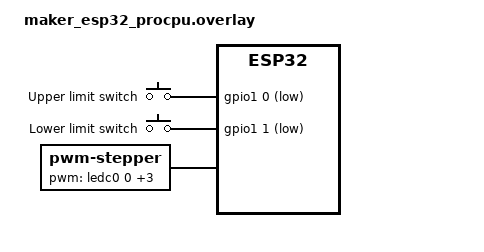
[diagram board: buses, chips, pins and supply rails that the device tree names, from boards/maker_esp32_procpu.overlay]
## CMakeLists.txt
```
# SPDX-License-Identifier: Apache-2.0

cmake_minimum_required(VERSION 3.28.0)

find_package(Zephyr REQUIRED HINTS $ENV{ZEPHYR_BASE})
find_package(Python REQUIRED COMPONENTS Interpreter)

project(dog_door)

target_sources(app PRIVATE
  src/app_config.c
  src/door_controller.c
  src/led_controller.c
  src/main.c
  src/mqtt_bridge.c
  src/network_manager.c
  src/ota_manager.c
  src/web_server.c
)

target_include_directories(app PRIVATE src)

set(gen_dir ${ZEPHYR_BINARY_DIR}/include/generated)

# Serve one self-contained page from the device. Some mobile browsers cache a
# failed stylesheet or script request very aggressively, which can leave the
# dashboard unstyled across firmware updates. Inlining the assets also removes
# two extra HTTP transactions from the ESP32's small network stack.
set_property(DIRECTORY APPEND PROPERTY CMAKE_CONFIGURE_DEPENDS
  ${CMAKE_CURRENT_SOURCE_DIR}/web/index.html
  ${CMAKE_CURRENT_SOURCE_DIR}/web/app.css
  ${CMAKE_CURRENT_SOURCE_DIR}/web/app.js
)
file(READ ${CMAKE_CURRENT_SOURCE_DIR}/web/index.html embedded_index_html)
file(READ ${CMAKE_CURRENT_SOURCE_DIR}/web/app.css embedded_app_css)
file(READ ${CMAKE_CURRENT_SOURCE_DIR}/web/app.js embedded_app_js)
string(REPLACE
  "<link rel=\"stylesheet\" href=\"/app.css\">"
  "<style>${embedded_app_css}</style>"
  embedded_index_html
  "${embedded_index_html}"
)
string(REPLACE
  "<script src=\"/app.js\"></script>"
  "<script>${embedded_app_js}</script>"
  embedded_index_html
  "${embedded_index_html}"
)
file(WRITE ${gen_dir}/index.embedded.html "${embedded_index_html}")

generate_inc_file_for_target(app
  ${gen_dir}/index.embedded.html
  ${gen_dir}/index.html.gz.inc
  --gzip
)

zephyr_linker_sources(SECTIONS sections-rom.ld)
zephyr_linker_section(
  NAME http_resource_desc_dog_door_service
  KVMA RAM_REGION
  GROUP RODATA_REGION
)
```

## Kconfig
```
# Copyright (c) 2026 Andrei Aldea
# SPDX-License-Identifier: Apache-2.0

mainmenu "Dog Door"

menu "Dog Door application"

config DOG_DOOR_ACTUATOR_ARMED
	bool "Allow the firmware to energize the door stepper motor"
	help
	  Keep this disabled until the limit switches, motor phases, opening
	  direction, drive duty, step rate, and mechanical timeout are verified.

config DOG_DOOR_STEPPER_DRIVE_PERCENT
	int "Moving stepper PWM duty percentage"
	default 50
	range 10 100
	help
	  This board does not expose an adjustable 3D-printer-style current limit.
	  Start with a 6 V motor supply and increase this value only after checking
	  winding current and motor/driver temperature.

config DOG_DOOR_STEPPER_STEP_INTERVAL_US
	int "Delay between half-steps in microseconds"
	default 1250
	range 625 10000
	help
	  The default is 800 half-steps per second. Increase the interval to gain
	  low-speed torque or reduce it only after confirming reliable motion.

config DOG_DOOR_STEPPER_INVERT_DIRECTION
	bool "Reverse the stepper opening direction"
	help
	  Enable this if an open command moves the mechanism toward the lower
	  limit. Swapping either winding pair has the same physical effect.

config DOG_DOOR_TRAVEL_TIMEOUT_MS
	int "Maximum door travel time in milliseconds"
	default 30000
	range 1000 120000

config DOG_DOOR_LIMIT_DEBOUNCE_MS
	int "Limit switch debounce time in milliseconds"
	default 40
	range 10 500

config DOG_DOOR_SETUP_AP_SSID
	string "Provisioning access point SSID"
	default "DogDoor-Setup"

config DOG_DOOR_SETUP_AP_PASSWORD
	string "Provisioning access point password"
	default "configureme"
	help
	  Change this before deploying the device. WPA2 requires at least eight
	  characters.

config DOG_DOOR_HTTP_PORT
	int "HTTP server port"
	default 80
	range 1 65535

config DOG_DOOR_LOG_LEVEL
	int "Application log level"
	default 3
	range 0 4

endmenu

source "Kconfig.zephyr"
```

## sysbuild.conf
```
# Build and sign the application for MCUboot.
SB_CONFIG_BOOTLOADER_MCUBOOT=y
SB_CONFIG_BOOT_SIGNATURE_TYPE_ECDSA_P256=y
SB_CONFIG_BOOT_SIGNATURE_KEY_FILE="${APP_DIR}/keys/dog-door-signing.pem"

# ESP32 normally selects overwrite-only updates. Swap through the board's
# scratch partition so an unconfirmed update can revert to the prior image.
SB_CONFIG_MCUBOOT_MODE_SWAP_SCRATCH=y
```

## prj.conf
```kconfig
# Core
CONFIG_MAIN_STACK_SIZE=6144
CONFIG_SYSTEM_WORKQUEUE_STACK_SIZE=4096
CONFIG_HEAP_MEM_POOL_SIZE=57344
# Keep the large networking stacks in ESP32's second DRAM bank so MCUboot
# support does not force the runtime heap below its Wi-Fi commissioning size.
CONFIG_ESP32_REGION_1_NOINIT=y
CONFIG_LOG=y
CONFIG_LOG_MODE_DEFERRED=y
CONFIG_PRINTK=y
CONFIG_REBOOT=y
CONFIG_JSON_LIBRARY=y
CONFIG_DOG_DOOR_ACTUATOR_ARMED=y

# Signed browser OTA with MCUboot test boot and rollback
CONFIG_BOOTLOADER_MCUBOOT=y
CONFIG_STREAM_FLASH=y
CONFIG_IMG_MANAGER=y
CONFIG_IMG_ERASE_PROGRESSIVELY=y
CONFIG_IMG_BLOCK_BUF_SIZE=2048
CONFIG_MCUBOOT_UTIL_LOG_LEVEL_INF=y

# Hardware
CONFIG_GPIO=y
CONFIG_PWM=y
CONFIG_LED_STRIP=y
CONFIG_WS2812_STRIP_SPI=y
CONFIG_SPI=y

# Persistent settings and Wi-Fi credentials
CONFIG_FLASH=y
CONFIG_FLASH_MAP=y
CONFIG_NVS=y
CONFIG_SETTINGS=y
CONFIG_SETTINGS_NVS=y
CONFIG_WIFI_CREDENTIALS=y
CONFIG_WIFI_CREDENTIALS_BACKEND_SETTINGS=y
CONFIG_WIFI_CREDENTIALS_MAX_ENTRIES=2

# Wi-Fi AP + station networking
CONFIG_NETWORKING=y
CONFIG_NET_IPV4=y
CONFIG_NET_IPV6=n
CONFIG_NET_TCP=y
CONFIG_NET_UDP=y
CONFIG_NET_SOCKETS=y
CONFIG_NET_CONNECTION_MANAGER=y
CONFIG_NET_MGMT=y
CONFIG_NET_MGMT_EVENT=y
CONFIG_NET_MGMT_EVENT_INFO=y
CONFIG_NET_MGMT_EVENT_QUEUE_SIZE=16
CONFIG_NET_MGMT_EVENT_STACK_SIZE=4096
CONFIG_NET_DHCPV4=y
CONFIG_NET_DHCPV4_SERVER=y
CONFIG_NET_IF_MAX_IPV4_COUNT=2
CONFIG_NET_PKT_RX_COUNT=16
CONFIG_NET_PKT_TX_COUNT=16
CONFIG_NET_BUF_RX_COUNT=32
CONFIG_NET_BUF_TX_COUNT=32
CONFIG_NET_MAX_CONTEXTS=16
CONFIG_NET_MAX_CONN=16
CONFIG_NET_SOCKETS_SERVICE_STACK_SIZE=4096
# The HTTP server polls one stop event, one listening socket, and every
# configured client socket.  The ZVFS default of 3 only supports one active
# HTTP client and causes the listener to restart when a second client arrives.
CONFIG_ZVFS_POLL_MAX=6
CONFIG_WIFI=y
CONFIG_WIFI_NM=y
CONFIG_WIFI_USAGE_MODE_STA_AP=y
CONFIG_NET_L2_WIFI_MGMT=y
# The application owns retry timing so it can use bounded backoff and defer
# AP+STA fallback until a station outage has persisted.
CONFIG_ESP32_WIFI_STA_RECONNECT=n

# Embedded HTTP API/UI
CONFIG_HTTP_PARSER=y
CONFIG_HTTP_PARSER_URL=y
CONFIG_HTTP_SERVER=y
CONFIG_HTTP_SERVER_MAX_CLIENTS=4
CONFIG_HTTP_SERVER_CLIENT_BUFFER_SIZE=2048
CONFIG_HTTP_SERVER_MAX_URL_LENGTH=128

# Home Assistant MQTT discovery
CONFIG_MQTT_LIB=y
CONFIG_DNS_RESOLVER=y

# Reduce noisy networking logs while keeping application diagnostics.
CONFIG_NET_LOG=n
CONFIG_WIFI_LOG_LEVEL_WRN=y
```

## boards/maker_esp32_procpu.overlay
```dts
/*
 * Copyright (c) 2026 Andrei Aldea
 *
 * SPDX-License-Identifier: Apache-2.0
 */

#include <zephyr/dt-bindings/gpio/gpio.h>
#include <zephyr/dt-bindings/pinctrl/esp32-pinctrl.h>
#include <zephyr/dt-bindings/pwm/pwm.h>

/ {
	chosen {
		zephyr,settings-partition = &storage_partition;
	};

	aliases {
		upper-limit-switch = &upper_limit_switch;
		lower-limit-switch = &lower_limit_switch;
	};

	limit_switches: limit-switches {
		compatible = "gpio-keys";

		/*
		 * Reuse the Servo 1 and Servo 2 signal pins as inputs. Both pins
		 * support internal pull-ups, so each normally-open switch only
		 * needs to connect its signal pin to ground.
		 */
		upper_limit_switch: upper-limit-switch {
			gpios = <&gpio1 0 (GPIO_PULL_UP | GPIO_ACTIVE_LOW)>;
			label = "Upper limit switch";
		};

		lower_limit_switch: lower-limit-switch {
			gpios = <&gpio1 1 (GPIO_PULL_UP | GPIO_ACTIVE_LOW)>;
			label = "Lower limit switch";
		};
	};

	stepper: door-stepper {
		compatible = "pwm-stepper";
		/* Stepper 1: A+, A-, B+, B- through motor bridges M1 and M2. */
		pwms = <&ledc0 0 PWM_USEC(50) PWM_POLARITY_NORMAL>,
		       <&ledc0 1 PWM_USEC(50) PWM_POLARITY_NORMAL>,
		       <&ledc0 2 PWM_USEC(50) PWM_POLARITY_NORMAL>,
		       <&ledc0 3 PWM_USEC(50) PWM_POLARITY_NORMAL>;
	};
};

&pinctrl {
	dog_door_ledc: dog-door-ledc {
		group1 {
			/* Only M1 and M2 are used; keep the servo pins as GPIO inputs. */
			pinmux = <LEDC_CH0_GPIO27>,
				 <LEDC_CH1_GPIO13>,
				 <LEDC_CH2_GPIO4>,
				 <LEDC_CH3_GPIO2>;
			output-enable;
		};
	};
};

&ledc0 {
	pinctrl-0 = <&dog_door_ledc>;
};
```

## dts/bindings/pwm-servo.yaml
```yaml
# SPDX-License-Identifier: Apache-2.0

description: PWM-driven servo motor.

compatible: "pwm-servo"

include: base.yaml

properties:
  pwms:
    required: true
    type: phandle-array
    description: PWM specifier driving the servo motor.

  min-pulse:
    required: true
    type: int
    description: Minimum pulse width in nanoseconds.

  max-pulse:
    required: true
    type: int
    description: Maximum pulse width in nanoseconds.
```

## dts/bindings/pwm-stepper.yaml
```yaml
# SPDX-License-Identifier: Apache-2.0

description: Four-input bipolar stepper motor driven through PWM H-bridges.

compatible: "pwm-stepper"

include: base.yaml

properties:
  pwms:
    required: true
    type: phandle-array
    description: A+, A-, B+, and B- PWM outputs, in that order.
```

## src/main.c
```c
/* SPDX-License-Identifier: Apache-2.0 */
#include "app_config.h"
#include "door_controller.h"
#include "led_controller.h"
#include "mqtt_bridge.h"
#include "network_manager.h"
#include "ota_manager.h"
#include "web_server.h"

#include <zephyr/kernel.h>
#include <zephyr/logging/log.h>

LOG_MODULE_REGISTER(dog_door, CONFIG_DOG_DOOR_LOG_LEVEL);

int main(void)
{
	int ret;
	bool startup_healthy = true;

	LOG_INF("Maker ESP32 Dog Door starting");
	LOG_WRN("Actuator is compile-time %s",
		IS_ENABLED(CONFIG_DOG_DOOR_ACTUATOR_ARMED) ? "ARMED" : "DISARMED");

	ret = ota_manager_init();
	if (ret != 0) {
		LOG_ERR("OTA initialization failed: %d", ret);
		startup_healthy = false;
	}
	ret = app_config_init();
	if (ret != 0) {
		LOG_ERR("Configuration initialization failed: %d", ret);
		startup_healthy = false;
	}
	ret = door_controller_init();
	if (ret != 0) {
		LOG_ERR("Door controller initialization failed: %d", ret);
		startup_healthy = false;
	}
	ret = led_controller_init();
	if (ret != 0) {
		LOG_ERR("LED controller initialization failed: %d", ret);
		startup_healthy = false;
	}
	ret = network_manager_init();
	if (ret != 0) {
		LOG_ERR("Network initialization failed: %d", ret);
		startup_healthy = false;
	}
	ret = web_server_init();
	if (ret != 0) {
		LOG_ERR("Web server initialization failed: %d", ret);
		startup_healthy = false;
	}
	ret = mqtt_bridge_init();
	if (ret != 0) {
		LOG_ERR("MQTT initialization failed: %d", ret);
	}
	if (startup_healthy) {
		ota_manager_mark_healthy();
	} else {
		LOG_ERR("Startup health check failed; an OTA test image will not be confirmed");
	}

	while (true) {
		k_sleep(K_HOURS(1));
	}
	return 0;
}
```

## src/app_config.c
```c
/* SPDX-License-Identifier: Apache-2.0 */
#include "app_config.h"

#include <errno.h>
#include <stddef.h>
#include <string.h>
#include <zephyr/kernel.h>
#include <zephyr/logging/log.h>
#include <zephyr/settings/settings.h>
#include <zephyr/sys/util.h>

LOG_MODULE_REGISTER(app_config, CONFIG_DOG_DOOR_LOG_LEVEL);

#define CONFIG_SETTINGS_KEY "dogdoor/config"
#define CONFIG_VERSION 2U

struct app_config_data_v1 {
	char device_name[DOG_DOOR_DEVICE_NAME_MAX + 1];
	bool mqtt_enabled;
	char mqtt_host[DOG_DOOR_MQTT_HOST_MAX + 1];
	uint16_t mqtt_port;
	char mqtt_username[DOG_DOOR_MQTT_USERNAME_MAX + 1];
	char mqtt_password[DOG_DOOR_MQTT_PASSWORD_MAX + 1];
};

struct stored_config_v1 {
	uint32_t version;
	struct app_config_data_v1 data;
};

struct stored_config {
	uint32_t version;
	struct app_config_data data;
};

static struct stored_config current;
K_MUTEX_DEFINE(config_lock);

static void load_defaults(void)
{
	memset(&current, 0, sizeof(current));
	current.version = CONFIG_VERSION;
	strcpy(current.data.device_name, "Mudroom Door");
	current.data.mqtt_port = 1883;
	current.data.home_to_upper = true;
}

static int config_settings_set(const char *name, size_t len,
			       settings_read_cb read_cb, void *cb_arg)
{
	struct stored_config loaded;
	struct stored_config_v1 loaded_v1;
	ssize_t read_len;

	if (strcmp(name, "config") != 0) {
		return -ENOENT;
	}

	if (len == sizeof(loaded_v1)) {
		read_len = read_cb(cb_arg, &loaded_v1, sizeof(loaded_v1));
		if (read_len != sizeof(loaded_v1) || loaded_v1.version != 1U) {
			LOG_WRN("Ignoring incompatible stored configuration");
			return 0;
		}

		k_mutex_lock(&config_lock, K_FOREVER);
		memcpy(&current.data, &loaded_v1.data, sizeof(loaded_v1.data));
		current.version = CONFIG_VERSION;
		current.data.home_to_upper = true;
		k_mutex_unlock(&config_lock);
		LOG_INF("Migrated configuration; homing defaults to the upper limit");
		return 0;
	}

	if (len != sizeof(loaded)) {
		return -ENOENT;
	}
	read_len = read_cb(cb_arg, &loaded, sizeof(loaded));
	if (read_len != sizeof(loaded) || loaded.version != CONFIG_VERSION) {
		LOG_WRN("Ignoring incompatible stored configuration");
		return 0;
	}

	k_mutex_lock(&config_lock, K_FOREVER);
	current = loaded;
	current.data.device_name[DOG_DOOR_DEVICE_NAME_MAX] = '\0';
	current.data.mqtt_host[DOG_DOOR_MQTT_HOST_MAX] = '\0';
	current.data.mqtt_username[DOG_DOOR_MQTT_USERNAME_MAX] = '\0';
	current.data.mqtt_password[DOG_DOOR_MQTT_PASSWORD_MAX] = '\0';
	k_mutex_unlock(&config_lock);
	return 0;
}

SETTINGS_STATIC_HANDLER_DEFINE(dogdoor, "dogdoor", NULL, config_settings_set,
			       NULL, NULL);

int app_config_init(void)
{
	int ret;

	load_defaults();
	ret = settings_subsys_init();
	if (ret != 0 && ret != -EALREADY) {
		LOG_ERR("Settings init failed: %d", ret);
		return ret;
	}

	ret = settings_load_subtree("dogdoor");
	if (ret != 0) {
		LOG_ERR("Settings load failed: %d", ret);
	}
	return ret;
}

void app_config_get(struct app_config_data *config)
{
	if (config == NULL) {
		return;
	}
	k_mutex_lock(&config_lock, K_FOREVER);
	*config = current.data;
	k_mutex_unlock(&config_lock);
}

int app_config_set(const struct app_config_data *config)
{
	struct stored_config snapshot;

	if (config == NULL || config->device_name[0] == '\0' ||
	    (config->mqtt_enabled && config->mqtt_host[0] == '\0') ||
	    config->mqtt_port == 0) {
		return -EINVAL;
	}

	k_mutex_lock(&config_lock, K_FOREVER);
	current.data = *config;
	current.version = CONFIG_VERSION;
	current.data.device_name[DOG_DOOR_DEVICE_NAME_MAX] = '\0';
	current.data.mqtt_host[DOG_DOOR_MQTT_HOST_MAX] = '\0';
	current.data.mqtt_username[DOG_DOOR_MQTT_USERNAME_MAX] = '\0';
	current.data.mqtt_password[DOG_DOOR_MQTT_PASSWORD_MAX] = '\0';
	snapshot = current;
	k_mutex_unlock(&config_lock);

	return settings_save_one(CONFIG_SETTINGS_KEY, &snapshot, sizeof(snapshot));
}
```

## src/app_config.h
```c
/* SPDX-License-Identifier: Apache-2.0 */
#ifndef DOG_DOOR_APP_CONFIG_H_
#define DOG_DOOR_APP_CONFIG_H_

#include <stdbool.h>
#include <stdint.h>

#define DOG_DOOR_DEVICE_NAME_MAX 32
#define DOG_DOOR_MQTT_HOST_MAX 64
#define DOG_DOOR_MQTT_USERNAME_MAX 32
#define DOG_DOOR_MQTT_PASSWORD_MAX 64

struct app_config_data {
	char device_name[DOG_DOOR_DEVICE_NAME_MAX + 1];
	bool mqtt_enabled;
	char mqtt_host[DOG_DOOR_MQTT_HOST_MAX + 1];
	uint16_t mqtt_port;
	char mqtt_username[DOG_DOOR_MQTT_USERNAME_MAX + 1];
	char mqtt_password[DOG_DOOR_MQTT_PASSWORD_MAX + 1];
	bool home_to_upper;
};

int app_config_init(void);
void app_config_get(struct app_config_data *config);
int app_config_set(const struct app_config_data *config);

#endif /* DOG_DOOR_APP_CONFIG_H_ */
```

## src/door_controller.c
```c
/* SPDX-License-Identifier: Apache-2.0 */
#include "door_controller.h"

#include "app_config.h"

#include <errno.h>
#include <string.h>
#include <zephyr/devicetree.h>
#include <zephyr/drivers/gpio.h>
#include <zephyr/drivers/pwm.h>
#include <zephyr/kernel.h>
#include <zephyr/logging/log.h>

LOG_MODULE_REGISTER(door, CONFIG_DOG_DOOR_LOG_LEVEL);

#define UPPER_LIMIT_NODE DT_ALIAS(upper_limit_switch)
#define LOWER_LIMIT_NODE DT_ALIAS(lower_limit_switch)
#define STEPPER_NODE DT_NODELABEL(stepper)
#define SAMPLE_INTERVAL_MS 10
#define STEPPER_OUTPUT_COUNT 4
#define STEPPER_PHASE_COUNT 8
#define STEPPER_THREAD_STACK_SIZE 2048
#define STEPPER_THREAD_PRIORITY 5

BUILD_ASSERT(DT_NODE_HAS_STATUS(UPPER_LIMIT_NODE, okay), "upper-limit-switch alias is required");
BUILD_ASSERT(DT_NODE_HAS_STATUS(LOWER_LIMIT_NODE, okay), "lower-limit-switch alias is required");
BUILD_ASSERT(DT_NODE_HAS_STATUS(STEPPER_NODE, okay), "door stepper node is required");
BUILD_ASSERT(DT_PROP_LEN(STEPPER_NODE, pwms) == STEPPER_OUTPUT_COUNT,
	     "door stepper requires A+, A-, B+, and B- PWM outputs");

static const struct gpio_dt_spec upper_limit = GPIO_DT_SPEC_GET(UPPER_LIMIT_NODE, gpios);
static const struct gpio_dt_spec lower_limit = GPIO_DT_SPEC_GET(LOWER_LIMIT_NODE, gpios);
static const struct pwm_dt_spec stepper_outputs[STEPPER_OUTPUT_COUNT] = {
	PWM_DT_SPEC_GET_BY_IDX(STEPPER_NODE, 0),
	PWM_DT_SPEC_GET_BY_IDX(STEPPER_NODE, 1),
	PWM_DT_SPEC_GET_BY_IDX(STEPPER_NODE, 2),
	PWM_DT_SPEC_GET_BY_IDX(STEPPER_NODE, 3),
};

/* A+, A-, B+, B-. One or two windings are energized per half-step. */
static const uint8_t half_step_phases[STEPPER_PHASE_COUNT] = {
	BIT(0), BIT(0) | BIT(2), BIT(2), BIT(1) | BIT(2),
	BIT(1), BIT(1) | BIT(3), BIT(3), BIT(0) | BIT(3),
};

static struct door_snapshot state;
static bool upper_raw;
static bool lower_raw;
static int64_t upper_changed_at;
static int64_t lower_changed_at;
static int64_t motion_started_at;
static bool homing_to_upper = true;
static struct k_work_delayable monitor_work;
static struct k_thread stepper_thread_data;
static struct k_sem stepper_wake;
static atomic_t stepper_running;
static atomic_t stepper_direction;
static atomic_t stepper_error;
static uint8_t stepper_phase;
K_THREAD_STACK_DEFINE(stepper_stack, STEPPER_THREAD_STACK_SIZE);
K_MUTEX_DEFINE(door_lock);
K_MUTEX_DEFINE(stepper_output_lock);

static bool is_moving(enum door_state value)
{
	return value == DOOR_STATE_OPENING || value == DOOR_STATE_CLOSING ||
	       value == DOOR_STATE_HOMING;
}

const char *door_state_name(enum door_state value)
{
	switch (value) {
	case DOOR_STATE_UNKNOWN: return "unknown";
	case DOOR_STATE_HOMING: return "homing";
	case DOOR_STATE_OPENING: return "opening";
	case DOOR_STATE_CLOSING: return "closing";
	case DOOR_STATE_OPEN: return "open";
	case DOOR_STATE_CLOSED: return "closed";
	case DOOR_STATE_STOPPED: return "stopped";
	case DOOR_STATE_FAULT: return "fault";
	default: return "unknown";
	}
}

static int stepper_outputs_off(void)
{
	int first_error = 0;

	for (size_t i = 0; i < ARRAY_SIZE(stepper_outputs); i++) {
		int ret = pwm_set_dt(&stepper_outputs[i], stepper_outputs[i].period, 0);

		if (ret != 0 && first_error == 0) {
			first_error = ret;
		}
	}
	return first_error;
}

static int set_stepper_phase(uint8_t phase)
{
	uint8_t active = half_step_phases[phase % STEPPER_PHASE_COUNT];
	int first_error;

	if (!IS_ENABLED(CONFIG_DOG_DOOR_ACTUATOR_ARMED)) {
		return stepper_outputs_off();
	}

	first_error = stepper_outputs_off();
	for (size_t i = 0; i < ARRAY_SIZE(stepper_outputs); i++) {
		uint32_t pulse;
		int ret;

		if ((active & BIT(i)) == 0U) {
			continue;
		}
		pulse = ((uint64_t)stepper_outputs[i].period *
			 CONFIG_DOG_DOOR_STEPPER_DRIVE_PERCENT) / 100U;
		ret = pwm_set_dt(&stepper_outputs[i], stepper_outputs[i].period, pulse);
		if (ret != 0 && first_error == 0) {
			first_error = ret;
		}
	}
	return first_error;
}

static void stepper_thread(void *first, void *second, void *third)
{
	ARG_UNUSED(first);
	ARG_UNUSED(second);
	ARG_UNUSED(third);

	while (true) {
		k_sem_take(&stepper_wake, K_FOREVER);
		while (atomic_get(&stepper_running)) {
			int direction = atomic_get(&stepper_direction);
			int ret;

			k_mutex_lock(&stepper_output_lock, K_FOREVER);
			if (!atomic_get(&stepper_running)) {
				k_mutex_unlock(&stepper_output_lock);
				break;
			}
			stepper_phase = (stepper_phase + direction + STEPPER_PHASE_COUNT) %
				STEPPER_PHASE_COUNT;
			ret = set_stepper_phase(stepper_phase);
			if (ret != 0) {
				(void)stepper_outputs_off();
			}
			k_mutex_unlock(&stepper_output_lock);
			if (ret != 0) {
				atomic_set(&stepper_error, ret);
				atomic_clear(&stepper_running);
				break;
			}
			k_usleep(CONFIG_DOG_DOOR_STEPPER_STEP_INTERVAL_US);
		}
	}
}

static int start_stepper(int direction)
{
	int ret;

	if (!state.motor_ready) {
		return -ENODEV;
	}
	if (!IS_ENABLED(CONFIG_DOG_DOOR_ACTUATOR_ARMED)) {
		return -EACCES;
	}
	if (IS_ENABLED(CONFIG_DOG_DOOR_STEPPER_INVERT_DIRECTION)) {
		direction = -direction;
	}
	atomic_set(&stepper_direction, direction);
	atomic_clear(&stepper_error);
	k_mutex_lock(&stepper_output_lock, K_FOREVER);
	ret = set_stepper_phase(stepper_phase);
	if (ret == 0) {
		atomic_set(&stepper_running, 1);
	}
	k_mutex_unlock(&stepper_output_lock);
	if (ret == 0) {
		k_sem_give(&stepper_wake);
	}
	return ret;
}

static int stop_stepper(void)
{
	int ret;

	atomic_clear(&stepper_running);
	k_mutex_lock(&stepper_output_lock, K_FOREVER);
	ret = stepper_outputs_off();
	k_mutex_unlock(&stepper_output_lock);
	return ret;
}

static void bump_generation(void)
{
	state.generation++;
}

static void stop_locked(enum door_state final_state)
{
	int ret = stop_stepper();

	if (ret != 0) {
		LOG_ERR("Unable to stop stepper: %d", ret);
	}
	state.state = final_state;
	motion_started_at = 0;
	bump_generation();
}

static void fault_locked(const char *reason)
{
	(void)stop_stepper();
	state.state = DOOR_STATE_FAULT;
	strncpy(state.fault, reason, sizeof(state.fault) - 1);
	state.fault[sizeof(state.fault) - 1] = '\0';
	motion_started_at = 0;
	bump_generation();
	LOG_ERR("Door fault: %s", state.fault);
}

static void update_debounced_limit(bool sample, bool *raw, int64_t *changed_at,
				   bool *stable, int64_t now)
{
	if (sample != *raw) {
		*raw = sample;
		*changed_at = now;
	}

	if (*stable != *raw && now - *changed_at >= CONFIG_DOG_DOOR_LIMIT_DEBOUNCE_MS) {
		*stable = *raw;
		bump_generation();
	}
}

static void monitor_handler(struct k_work *work)
{
	int upper_sample;
	int lower_sample;
	int64_t now = k_uptime_get();

	ARG_UNUSED(work);
	upper_sample = gpio_pin_get_dt(&upper_limit);
	lower_sample = gpio_pin_get_dt(&lower_limit);

	k_mutex_lock(&door_lock, K_FOREVER);
	if (atomic_get(&stepper_error) != 0) {
		fault_locked("Stepper PWM output failed");
		atomic_clear(&stepper_error);
		goto out;
	}
	if (upper_sample < 0 || lower_sample < 0) {
		fault_locked("Unable to read a limit switch");
		goto out;
	}

	update_debounced_limit(upper_sample != 0, &upper_raw, &upper_changed_at,
				 &state.upper_limit, now);
	update_debounced_limit(lower_sample != 0, &lower_raw, &lower_changed_at,
				 &state.lower_limit, now);

	if (state.upper_limit && state.lower_limit) {
		if (state.state != DOOR_STATE_FAULT ||
		    strcmp(state.fault, "Both limit switches are active") != 0) {
			fault_locked("Both limit switches are active");
		}
		goto out;
	}

	if ((state.state == DOOR_STATE_OPENING && state.upper_limit) ||
	    (state.state == DOOR_STATE_HOMING && homing_to_upper && state.upper_limit)) {
		stop_locked(DOOR_STATE_OPEN);
		state.fault[0] = '\0';
	} else if ((state.state == DOOR_STATE_CLOSING && state.lower_limit) ||
		   (state.state == DOOR_STATE_HOMING && !homing_to_upper &&
		    state.lower_limit)) {
		stop_locked(DOOR_STATE_CLOSED);
		state.fault[0] = '\0';
	} else if (is_moving(state.state) && motion_started_at > 0 &&
		   now - motion_started_at > CONFIG_DOG_DOOR_TRAVEL_TIMEOUT_MS) {
		fault_locked("Travel timed out before reaching the limit switch");
	}

out:
	k_mutex_unlock(&door_lock);
	k_work_reschedule(&monitor_work, K_MSEC(SAMPLE_INTERVAL_MS));
}

int door_controller_init(void)
{
	int ret;

	memset(&state, 0, sizeof(state));
	state.actuator_armed = IS_ENABLED(CONFIG_DOG_DOOR_ACTUATOR_ARMED);
	state.motor_ready = true;
	for (size_t i = 0; i < ARRAY_SIZE(stepper_outputs); i++) {
		state.motor_ready = state.motor_ready && pwm_is_ready_dt(&stepper_outputs[i]);
	}
	state.state = DOOR_STATE_UNKNOWN;

	if (!gpio_is_ready_dt(&upper_limit) || !gpio_is_ready_dt(&lower_limit)) {
		LOG_ERR("Limit switch GPIO device is not ready");
		return -ENODEV;
	}
	ret = gpio_pin_configure_dt(&upper_limit, GPIO_INPUT);
	if (ret != 0) {
		return ret;
	}
	ret = gpio_pin_configure_dt(&lower_limit, GPIO_INPUT);
	if (ret != 0) {
		return ret;
	}

	upper_raw = gpio_pin_get_dt(&upper_limit) > 0;
	lower_raw = gpio_pin_get_dt(&lower_limit) > 0;
	state.upper_limit = upper_raw;
	state.lower_limit = lower_raw;
	upper_changed_at = lower_changed_at = k_uptime_get();
	if (upper_raw && lower_raw) {
		fault_locked("Both limit switches are active");
	} else if (upper_raw) {
		state.state = DOOR_STATE_OPEN;
	} else if (lower_raw) {
		state.state = DOOR_STATE_CLOSED;
	}

	k_sem_init(&stepper_wake, 0, 1);
	if (state.motor_ready) {
		(void)stepper_outputs_off();
		k_thread_create(&stepper_thread_data, stepper_stack,
				K_THREAD_STACK_SIZEOF(stepper_stack), stepper_thread,
				NULL, NULL, NULL, STEPPER_THREAD_PRIORITY, 0, K_NO_WAIT);
		k_thread_name_set(&stepper_thread_data, "dog-door-stepper");
	} else {
		LOG_ERR("Stepper PWM outputs are not ready");
	}

	k_work_init_delayable(&monitor_work, monitor_handler);
	k_work_schedule(&monitor_work, K_MSEC(SAMPLE_INTERVAL_MS));
	LOG_INF("Controller ready: state=%s, actuator=%s", door_state_name(state.state),
		state.actuator_armed ? "ARMED" : "DISARMED");
	return 0;
}

int door_controller_command(enum door_command command)
{
	struct app_config_data config;
	int ret = 0;
	int direction = 0;
	enum door_state next_state = DOOR_STATE_STOPPED;

	k_mutex_lock(&door_lock, K_FOREVER);
	if (command == DOOR_COMMAND_STOP) {
		stop_locked(DOOR_STATE_STOPPED);
		goto out;
	}
	if (!state.actuator_armed) {
		ret = -EACCES;
		goto out;
	}
	if (!state.motor_ready) {
		ret = -ENODEV;
		goto out;
	}
	if (state.upper_limit && state.lower_limit) {
		ret = -EIO;
		goto out;
	}

	switch (command) {
	case DOOR_COMMAND_OPEN:
		if (state.upper_limit) {
			state.state = DOOR_STATE_OPEN;
			bump_generation();
			goto out;
		}
		direction = 1;
		next_state = DOOR_STATE_OPENING;
		break;
	case DOOR_COMMAND_CLOSE:
		if (state.lower_limit) {
			state.state = DOOR_STATE_CLOSED;
			bump_generation();
			goto out;
		}
		direction = -1;
		next_state = DOOR_STATE_CLOSING;
		break;
	case DOOR_COMMAND_HOME:
		app_config_get(&config);
		homing_to_upper = config.home_to_upper;
		if ((homing_to_upper && state.upper_limit) ||
		    (!homing_to_upper && state.lower_limit)) {
			state.state = homing_to_upper ? DOOR_STATE_OPEN : DOOR_STATE_CLOSED;
			bump_generation();
			goto out;
		}
		direction = homing_to_upper ? 1 : -1;
		next_state = DOOR_STATE_HOMING;
		break;
	default:
		ret = -EINVAL;
		goto out;
	}

	ret = start_stepper(direction);
	if (ret == 0) {
		state.state = next_state;
		state.fault[0] = '\0';
		motion_started_at = k_uptime_get();
		bump_generation();
		LOG_INF("Command accepted: %s", door_state_name(next_state));
	}

out:
	k_mutex_unlock(&door_lock);
	return ret;
}

void door_controller_get(struct door_snapshot *snapshot)
{
	if (snapshot == NULL) {
		return;
	}
	k_mutex_lock(&door_lock, K_FOREVER);
	*snapshot = state;
	k_mutex_unlock(&door_lock);
}
```

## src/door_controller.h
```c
/* SPDX-License-Identifier: Apache-2.0 */
#ifndef DOG_DOOR_CONTROLLER_H_
#define DOG_DOOR_CONTROLLER_H_

#include <stdbool.h>
#include <stdint.h>

enum door_state {
	DOOR_STATE_UNKNOWN,
	DOOR_STATE_HOMING,
	DOOR_STATE_OPENING,
	DOOR_STATE_CLOSING,
	DOOR_STATE_OPEN,
	DOOR_STATE_CLOSED,
	DOOR_STATE_STOPPED,
	DOOR_STATE_FAULT,
};

enum door_command {
	DOOR_COMMAND_OPEN,
	DOOR_COMMAND_CLOSE,
	DOOR_COMMAND_STOP,
	DOOR_COMMAND_HOME,
};

struct door_snapshot {
	enum door_state state;
	bool upper_limit;
	bool lower_limit;
	bool actuator_armed;
	bool motor_ready;
	char fault[64];
	uint32_t generation;
};

int door_controller_init(void);
int door_controller_command(enum door_command command);
void door_controller_get(struct door_snapshot *snapshot);
const char *door_state_name(enum door_state state);

#endif /* DOG_DOOR_CONTROLLER_H_ */
```

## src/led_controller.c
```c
/* SPDX-License-Identifier: Apache-2.0 */
#include "led_controller.h"

#include "door_controller.h"

#include <errno.h>
#include <string.h>
#include <zephyr/devicetree.h>
#include <zephyr/drivers/led_strip.h>
#include <zephyr/kernel.h>
#include <zephyr/logging/log.h>

LOG_MODULE_REGISTER(leds, CONFIG_DOG_DOOR_LOG_LEVEL);

#define STRIP_NODE DT_ALIAS(led_strip)
#define LED_COUNT DT_PROP(STRIP_NODE, chain_length)

BUILD_ASSERT(DT_NODE_HAS_STATUS(STRIP_NODE, okay), "led-strip alias is required");

static const struct device *const strip = DEVICE_DT_GET(STRIP_NODE);
static struct led_snapshot state = {
	.mode = LED_MODE_STATUS,
	.brightness = 70,
};
static struct k_work_delayable update_work;
K_MUTEX_DEFINE(led_lock);

const char *led_mode_name(enum led_mode mode)
{
	switch (mode) {
	case LED_MODE_STATUS: return "status";
	case LED_MODE_SOLID: return "solid";
	case LED_MODE_OFF: return "off";
	default: return "status";
	}
}

static struct led_rgb status_color(enum door_state door_state)
{
	switch (door_state) {
	case DOOR_STATE_OPEN: return (struct led_rgb){ .r = 46, .g = 117, .b = 182 };
	case DOOR_STATE_CLOSED: return (struct led_rgb){ .r = 47, .g = 125, .b = 74 };
	case DOOR_STATE_OPENING:
	case DOOR_STATE_CLOSING:
	case DOOR_STATE_HOMING: return (struct led_rgb){ .r = 224, .g = 149, .b = 44 };
	case DOOR_STATE_FAULT: return (struct led_rgb){ .r = 194, .g = 57, .b = 52 };
	default: return (struct led_rgb){ .r = 112, .g = 79, .b = 146 };
	}
}

static void update_handler(struct k_work *work)
{
	struct led_snapshot snapshot;
	struct door_snapshot door;
	struct led_rgb color;
	struct led_rgb pixels[LED_COUNT];

	ARG_UNUSED(work);
	led_controller_get(&snapshot);
	door_controller_get(&door);

	if (snapshot.mode == LED_MODE_OFF) {
		color = (struct led_rgb){0};
	} else if (snapshot.mode == LED_MODE_STATUS) {
		color = status_color(door.state);
	} else {
		color = (struct led_rgb){ .r = snapshot.red, .g = snapshot.green,
					  .b = snapshot.blue };
	}
	color.r = ((uint16_t)color.r * snapshot.brightness) / 100U;
	color.g = ((uint16_t)color.g * snapshot.brightness) / 100U;
	color.b = ((uint16_t)color.b * snapshot.brightness) / 100U;
	for (size_t i = 0; i < ARRAY_SIZE(pixels); i++) {
		pixels[i] = color;
	}
	if (device_is_ready(strip)) {
		(void)led_strip_update_rgb(strip, pixels, ARRAY_SIZE(pixels));
	}
	k_work_reschedule(&update_work, K_MSEC(250));
}

int led_controller_init(void)
{
	if (!device_is_ready(strip)) {
		LOG_ERR("WS2812 strip is not ready");
		return -ENODEV;
	}
	k_work_init_delayable(&update_work, update_handler);
	k_work_schedule(&update_work, K_NO_WAIT);
	return 0;
}

int led_controller_set(enum led_mode mode, uint8_t red, uint8_t green,
		       uint8_t blue, uint8_t brightness)
{
	if (mode > LED_MODE_OFF || brightness > 100) {
		return -EINVAL;
	}
	k_mutex_lock(&led_lock, K_FOREVER);
	state.mode = mode;
	state.red = red;
	state.green = green;
	state.blue = blue;
	state.brightness = brightness;
	state.generation++;
	k_mutex_unlock(&led_lock);
	k_work_reschedule(&update_work, K_NO_WAIT);
	return 0;
}

void led_controller_get(struct led_snapshot *snapshot)
{
	if (snapshot == NULL) {
		return;
	}
	k_mutex_lock(&led_lock, K_FOREVER);
	*snapshot = state;
	k_mutex_unlock(&led_lock);
}
```

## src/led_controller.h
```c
/* SPDX-License-Identifier: Apache-2.0 */
#ifndef DOG_DOOR_LED_CONTROLLER_H_
#define DOG_DOOR_LED_CONTROLLER_H_

#include <stdint.h>

enum led_mode {
	LED_MODE_STATUS,
	LED_MODE_SOLID,
	LED_MODE_OFF,
};

struct led_snapshot {
	enum led_mode mode;
	uint8_t red;
	uint8_t green;
	uint8_t blue;
	uint8_t brightness;
	uint32_t generation;
};

int led_controller_init(void);
int led_controller_set(enum led_mode mode, uint8_t red, uint8_t green,
		       uint8_t blue, uint8_t brightness);
void led_controller_get(struct led_snapshot *snapshot);
const char *led_mode_name(enum led_mode mode);

#endif /* DOG_DOOR_LED_CONTROLLER_H_ */
```

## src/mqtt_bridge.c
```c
/* SPDX-License-Identifier: Apache-2.0 */
#include "mqtt_bridge.h"

#include "app_config.h"
#include "door_controller.h"
#include "led_controller.h"
#include "network_manager.h"

#include <errno.h>
#include <stdio.h>
#include <string.h>
#include <zephyr/kernel.h>
#include <zephyr/logging/log.h>
#include <zephyr/net/mqtt.h>
#include <zephyr/net/socket.h>
#include <zephyr/random/random.h>

LOG_MODULE_REGISTER(mqtt_bridge, CONFIG_DOG_DOOR_LOG_LEVEL);

#define MQTT_RX_BUFFER_SIZE 2048
#define MQTT_TX_BUFFER_SIZE 2048
#define MQTT_PAYLOAD_MAX 384
#define MQTT_RECONNECT_SECONDS 5

#define TOPIC_AVAILABILITY "dogdoor/availability"
#define TOPIC_COVER_COMMAND "dogdoor/cover/set"
#define TOPIC_COVER_STATE "dogdoor/cover/state"
#define TOPIC_LIGHT_COMMAND "dogdoor/light/set"
#define TOPIC_LIGHT_STATE "dogdoor/light/state"
#define TOPIC_LIMITS "dogdoor/limits"
#define TOPIC_DIAGNOSTIC "dogdoor/state"

static struct mqtt_client client;
static struct sockaddr_storage broker;
static uint8_t rx_buffer[MQTT_RX_BUFFER_SIZE];
static uint8_t tx_buffer[MQTT_TX_BUFFER_SIZE];
static uint8_t incoming_payload[MQTT_PAYLOAD_MAX];
static struct mqtt_bridge_snapshot state;
static struct app_config_data active_config;
static struct mqtt_utf8 username;
static struct mqtt_utf8 password;
static atomic_t session_connected;
static atomic_t session_ready;
K_MUTEX_DEFINE(mqtt_state_lock);

static bool topic_equals(const struct mqtt_utf8 *topic, const char *expected)
{
	return topic->size == strlen(expected) &&
	       memcmp(topic->utf8, expected, topic->size) == 0;
}

static int publish_text(const char *topic, const char *payload, bool retained)
{
	struct mqtt_publish_param param = {0};

	param.message.topic.topic.utf8 = (uint8_t *)topic;
	param.message.topic.topic.size = strlen(topic);
	param.message.topic.qos = MQTT_QOS_0_AT_MOST_ONCE;
	param.message.payload.data = (uint8_t *)payload;
	param.message.payload.len = strlen(payload);
	param.message_id = sys_rand16_get();
	param.retain_flag = retained ? 1U : 0U;
	return mqtt_publish(&client, &param);
}

static bool json_uint(const char *payload_text, const char *key, unsigned int *value)
{
	char needle[20];
	const char *field;
	const char *separator;

	snprintk(needle, sizeof(needle), "\"%s\"", key);
	field = strstr(payload_text, needle);
	if (field == NULL) {
		return false;
	}
	separator = strchr(field + strlen(needle), ':');
	return separator != NULL && sscanf(separator + 1, "%u", value) == 1;
}

static void handle_light_command(const char *payload_text)
{
	unsigned int red = 255;
	unsigned int green = 255;
	unsigned int blue = 255;
	unsigned int brightness = 255;

	if (strstr(payload_text, "\"state\":\"OFF\"") != NULL ||
	    strstr(payload_text, "\"state\": \"OFF\"") != NULL) {
		(void)led_controller_set(LED_MODE_OFF, 0, 0, 0, 0);
		return;
	}
	(void)json_uint(payload_text, "r", &red);
	(void)json_uint(payload_text, "g", &green);
	(void)json_uint(payload_text, "b", &blue);
	(void)json_uint(payload_text, "brightness", &brightness);
	(void)led_controller_set(LED_MODE_SOLID, MIN(red, 255U), MIN(green, 255U),
				 MIN(blue, 255U), MIN((brightness * 100U) / 255U, 100U));
}

static void handle_publish(const struct mqtt_evt *event)
{
	const struct mqtt_publish_param *publish = &event->param.publish;
	int bytes;

	bytes = mqtt_read_publish_payload_blocking(&client, incoming_payload,
						   sizeof(incoming_payload) - 1);
	if (bytes < 0) {
		LOG_WRN("MQTT payload read failed: %d", bytes);
		return;
	}
	incoming_payload[bytes] = '\0';

	if (topic_equals(&publish->message.topic.topic, TOPIC_COVER_COMMAND)) {
		if (strcmp((char *)incoming_payload, "OPEN") == 0 ||
		    strcmp((char *)incoming_payload, "open") == 0) {
			(void)door_controller_command(DOOR_COMMAND_OPEN);
		} else if (strcmp((char *)incoming_payload, "CLOSE") == 0 ||
			   strcmp((char *)incoming_payload, "close") == 0) {
			(void)door_controller_command(DOOR_COMMAND_CLOSE);
		} else if (strcmp((char *)incoming_payload, "STOP") == 0 ||
			   strcmp((char *)incoming_payload, "stop") == 0) {
			(void)door_controller_command(DOOR_COMMAND_STOP);
		}
	} else if (topic_equals(&publish->message.topic.topic, TOPIC_LIGHT_COMMAND)) {
		handle_light_command((char *)incoming_payload);
	}

	if (publish->message.topic.qos == MQTT_QOS_1_AT_LEAST_ONCE) {
		const struct mqtt_puback_param ack = { .message_id = publish->message_id };

		(void)mqtt_publish_qos1_ack(&client, &ack);
	}
}

static void mqtt_event_handler(struct mqtt_client *const context,
			       const struct mqtt_evt *event)
{
	ARG_UNUSED(context);
	switch (event->type) {
	case MQTT_EVT_CONNACK:
		if (event->result == 0) {
			atomic_set(&session_connected, 1);
			atomic_set(&session_ready, 1);
		} else {
			LOG_WRN("MQTT connection refused: %d", event->result);
		}
		break;
	case MQTT_EVT_DISCONNECT:
		atomic_clear(&session_connected);
		break;
	case MQTT_EVT_PUBLISH:
		handle_publish(event);
		break;
	default:
		break;
	}
}

static int resolve_broker(const char *host, uint16_t port)
{
	struct zsock_addrinfo hints = {
		.ai_family = AF_INET,
		.ai_socktype = SOCK_STREAM,
	};
	struct zsock_addrinfo *result;
	char service[6];
	int ret;

	snprintk(service, sizeof(service), "%u", port);
	ret = zsock_getaddrinfo(host, service, &hints, &result);
	if (ret != 0 || result == NULL) {
		LOG_WRN("Unable to resolve MQTT broker %s: %d", host, ret);
		return -EHOSTUNREACH;
	}
	memcpy(&broker, result->ai_addr, result->ai_addrlen);
	zsock_freeaddrinfo(result);
	return 0;
}

static void init_client(void)
{
	static const char client_id[] = "maker-esp32-dog-door";
	static const char will_payload[] = "offline";
	static struct mqtt_topic will_topic = {
		.topic = { .utf8 = (uint8_t *)TOPIC_AVAILABILITY,
			   .size = sizeof(TOPIC_AVAILABILITY) - 1 },
		.qos = MQTT_QOS_0_AT_MOST_ONCE,
	};
	static struct mqtt_utf8 will_message = {
		.utf8 = (uint8_t *)will_payload,
		.size = sizeof(will_payload) - 1,
	};

	mqtt_client_init(&client);
	client.broker = &broker;
	client.evt_cb = mqtt_event_handler;
	client.client_id.utf8 = (uint8_t *)client_id;
	client.client_id.size = sizeof(client_id) - 1;
	client.protocol_version = MQTT_VERSION_3_1_1;
	client.rx_buf = rx_buffer;
	client.rx_buf_size = sizeof(rx_buffer);
	client.tx_buf = tx_buffer;
	client.tx_buf_size = sizeof(tx_buffer);
	client.transport.type = MQTT_TRANSPORT_NON_SECURE;
	client.keepalive = 30;
	client.will_topic = &will_topic;
	client.will_message = &will_message;
	if (active_config.mqtt_username[0] != '\0') {
		username.utf8 = (uint8_t *)active_config.mqtt_username;
		username.size = strlen(active_config.mqtt_username);
		client.user_name = &username;
	}
	if (active_config.mqtt_password[0] != '\0') {
		password.utf8 = (uint8_t *)active_config.mqtt_password;
		password.size = strlen(active_config.mqtt_password);
		client.password = &password;
	}
}

static int subscribe_commands(void)
{
	struct mqtt_topic topics[] = {
		{ .topic = { .utf8 = (uint8_t *)TOPIC_COVER_COMMAND,
			     .size = sizeof(TOPIC_COVER_COMMAND) - 1 },
		  .qos = MQTT_QOS_0_AT_MOST_ONCE },
		{ .topic = { .utf8 = (uint8_t *)TOPIC_LIGHT_COMMAND,
			     .size = sizeof(TOPIC_LIGHT_COMMAND) - 1 },
		  .qos = MQTT_QOS_0_AT_MOST_ONCE },
	};
	struct mqtt_subscription_list list = {
		.list = topics,
		.list_count = ARRAY_SIZE(topics),
		.message_id = sys_rand16_get(),
	};

	return mqtt_subscribe(&client, &list);
}

static void publish_discovery(void)
{
	char payload[1500];
	const char *device = "\"device\":{\"identifiers\":[\"maker_esp32_dogdoor\"],"
		"\"manufacturer\":\"NULLLAB\",\"model\":\"Maker ESP32\","
		"\"name\":\"Dog Door\"}";

	snprintk(payload, sizeof(payload),
		 "{\"name\":\"%s\",\"unique_id\":\"maker_esp32_dogdoor_cover\","
		 "\"command_topic\":\"%s\",\"state_topic\":\"%s\","
		 "\"availability_topic\":\"%s\",\"payload_open\":\"OPEN\","
		 "\"payload_close\":\"CLOSE\",\"payload_stop\":\"STOP\","
		 "\"state_open\":\"open\",\"state_closed\":\"closed\","
		 "\"state_opening\":\"opening\",\"state_closing\":\"closing\","
		 "\"state_stopped\":\"stopped\",%s}", active_config.device_name,
		 TOPIC_COVER_COMMAND, TOPIC_COVER_STATE, TOPIC_AVAILABILITY, device);
	(void)publish_text("homeassistant/cover/maker_esp32_dogdoor/config", payload, true);

	snprintk(payload, sizeof(payload),
		 "{\"name\":\"Door LEDs\",\"unique_id\":\"maker_esp32_dogdoor_light\","
		 "\"schema\":\"json\",\"command_topic\":\"%s\",\"state_topic\":\"%s\","
		 "\"availability_topic\":\"%s\",\"brightness\":true,"
		 "\"supported_color_modes\":[\"rgb\"],%s}",
		 TOPIC_LIGHT_COMMAND, TOPIC_LIGHT_STATE, TOPIC_AVAILABILITY, device);
	(void)publish_text("homeassistant/light/maker_esp32_dogdoor/config", payload, true);

	for (int upper = 0; upper < 2; upper++) {
		const char *which = upper ? "upper" : "lower";
		const char *name = upper ? "Upper limit" : "Lower limit";

		snprintk(payload, sizeof(payload),
			 "{\"name\":\"%s\",\"unique_id\":\"maker_esp32_dogdoor_%s_limit\","
			 "\"state_topic\":\"%s\","
			 "\"value_template\":\"{{ 'ON' if value_json.%s else 'OFF' }}\","
			 "\"payload_on\":\"ON\",\"payload_off\":\"OFF\","
			 "\"availability_topic\":\"%s\",%s}",
			 name, which, TOPIC_LIMITS, which, TOPIC_AVAILABILITY, device);
		char topic[96];

		snprintk(topic, sizeof(topic), "homeassistant/binary_sensor/maker_esp32_dogdoor_%s/config",
			 which);
		(void)publish_text(topic, payload, true);
	}
}

static void publish_state(void)
{
	struct door_snapshot door;
	struct led_snapshot led;
	char payload[256];
	const char *cover_state;

	door_controller_get(&door);
	led_controller_get(&led);
	cover_state = door_state_name(door.state);
	if (door.state == DOOR_STATE_HOMING) {
		cover_state = "opening";
	} else if (door.state == DOOR_STATE_UNKNOWN || door.state == DOOR_STATE_FAULT) {
		cover_state = "stopped";
	}
	(void)publish_text(TOPIC_COVER_STATE, cover_state, true);
	snprintk(payload, sizeof(payload), "{\"upper\":%s,\"lower\":%s}",
		 door.upper_limit ? "true" : "false", door.lower_limit ? "true" : "false");
	(void)publish_text(TOPIC_LIMITS, payload, true);
	snprintk(payload, sizeof(payload),
		 "{\"state\":\"%s\",\"brightness\":%u,\"color\":{\"r\":%u,\"g\":%u,\"b\":%u}}",
		 led.mode == LED_MODE_OFF ? "OFF" : "ON", (led.brightness * 255U) / 100U,
		 led.red, led.green, led.blue);
	(void)publish_text(TOPIC_LIGHT_STATE, payload, true);
	snprintk(payload, sizeof(payload),
		 "{\"door\":\"%s\",\"fault\":\"%s\",\"actuator_armed\":%s}",
		 door_state_name(door.state), door.fault, door.actuator_armed ? "true" : "false");
	(void)publish_text(TOPIC_DIAGNOSTIC, payload, true);
}

static int connect_session(void)
{
	struct zsock_pollfd descriptor;
	int ret;

	ret = resolve_broker(active_config.mqtt_host, active_config.mqtt_port);
	if (ret != 0) {
		return ret;
	}
	init_client();
	atomic_clear(&session_connected);
	atomic_clear(&session_ready);
	ret = mqtt_connect(&client);
	if (ret != 0) {
		return ret;
	}
	descriptor.fd = client.transport.tcp.sock;
	descriptor.events = ZSOCK_POLLIN;
	ret = zsock_poll(&descriptor, 1, 5000);
	if (ret > 0) {
		ret = mqtt_input(&client);
	}
	if (!atomic_get(&session_connected)) {
		mqtt_abort(&client);
		return ret < 0 ? ret : -ECONNREFUSED;
	}
	return 0;
}

static void mqtt_thread(void)
{
	uint32_t last_door_generation = UINT32_MAX;
	uint32_t last_led_generation = UINT32_MAX;

	while (true) {
		struct door_snapshot door;
		struct led_snapshot led;
		struct zsock_pollfd descriptor;
		int ret;

		app_config_get(&active_config);
		k_mutex_lock(&mqtt_state_lock, K_FOREVER);
		state.enabled = active_config.mqtt_enabled;
		strncpy(state.broker, active_config.mqtt_host, sizeof(state.broker) - 1);
		k_mutex_unlock(&mqtt_state_lock);
		if (!active_config.mqtt_enabled || active_config.mqtt_host[0] == '\0' ||
		    !network_manager_is_connected()) {
			k_sleep(K_SECONDS(2));
			continue;
		}

		ret = connect_session();
		if (ret != 0) {
			LOG_WRN("MQTT connection failed: %d", ret);
			k_sleep(K_SECONDS(MQTT_RECONNECT_SECONDS));
			continue;
		}
		k_mutex_lock(&mqtt_state_lock, K_FOREVER);
		state.connected = true;
		state.generation++;
		k_mutex_unlock(&mqtt_state_lock);
		(void)subscribe_commands();
		(void)publish_text(TOPIC_AVAILABILITY, "online", true);
		publish_discovery();
		publish_state();

		descriptor.fd = client.transport.tcp.sock;
		descriptor.events = ZSOCK_POLLIN;
		while (atomic_get(&session_connected) && network_manager_is_connected()) {
			ret = zsock_poll(&descriptor, 1, 500);
			if (ret > 0) {
				ret = mqtt_input(&client);
				if (ret != 0) {
					break;
				}
			}
			ret = mqtt_live(&client);
			if (ret != 0 && ret != -EAGAIN) {
				break;
			}
			door_controller_get(&door);
			led_controller_get(&led);
			if (door.generation != last_door_generation ||
			    led.generation != last_led_generation) {
				publish_state();
				last_door_generation = door.generation;
				last_led_generation = led.generation;
			}
		}
		mqtt_abort(&client);
		atomic_clear(&session_connected);
		k_mutex_lock(&mqtt_state_lock, K_FOREVER);
		state.connected = false;
		state.generation++;
		k_mutex_unlock(&mqtt_state_lock);
		k_sleep(K_SECONDS(MQTT_RECONNECT_SECONDS));
	}
}

K_THREAD_DEFINE(mqtt_thread_id, 6144, mqtt_thread, NULL, NULL, NULL, 8, 0, 0);

int mqtt_bridge_init(void)
{
	return 0;
}

void mqtt_bridge_get(struct mqtt_bridge_snapshot *snapshot)
{
	if (snapshot == NULL) {
		return;
	}
	k_mutex_lock(&mqtt_state_lock, K_FOREVER);
	*snapshot = state;
	k_mutex_unlock(&mqtt_state_lock);
}
```

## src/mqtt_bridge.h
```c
/* SPDX-License-Identifier: Apache-2.0 */
#ifndef DOG_DOOR_MQTT_BRIDGE_H_
#define DOG_DOOR_MQTT_BRIDGE_H_

#include <stdbool.h>
#include <stdint.h>

struct mqtt_bridge_snapshot {
	bool enabled;
	bool connected;
	char broker[65];
	uint32_t generation;
};

int mqtt_bridge_init(void);
void mqtt_bridge_get(struct mqtt_bridge_snapshot *snapshot);

#endif /* DOG_DOOR_MQTT_BRIDGE_H_ */
```

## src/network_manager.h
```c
/* SPDX-License-Identifier: Apache-2.0 */
#ifndef DOG_DOOR_NETWORK_MANAGER_H_
#define DOG_DOOR_NETWORK_MANAGER_H_

#include <stdbool.h>
#include <stddef.h>
#include <stdint.h>
#include <zephyr/net/wifi_mgmt.h>

#define DOG_DOOR_WIFI_SCAN_MAX 10

struct network_scan_entry {
	char ssid[WIFI_SSID_MAX_LEN + 1];
	int8_t rssi;
	uint8_t channel;
	enum wifi_security_type security;
};

struct network_snapshot {
	bool ap_active;
	bool connected;
	bool connecting;
	bool scanning;
	char ssid[WIFI_SSID_MAX_LEN + 1];
	char ip_address[NET_IPV4_ADDR_LEN];
	int8_t rssi;
	struct network_scan_entry scan[DOG_DOOR_WIFI_SCAN_MAX];
	size_t scan_count;
	uint32_t generation;
};

int network_manager_init(void);
int network_manager_scan(void);
int network_manager_set_wifi(const char *ssid, const char *password,
			     enum wifi_security_type security);
void network_manager_get(struct network_snapshot *snapshot);
bool network_manager_is_connected(void);

#endif /* DOG_DOOR_NETWORK_MANAGER_H_ */
```

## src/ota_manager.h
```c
/* SPDX-License-Identifier: Apache-2.0 */
#ifndef DOG_DOOR_OTA_MANAGER_H_
#define DOG_DOOR_OTA_MANAGER_H_

#include <stdbool.h>
#include <stddef.h>
#include <stdint.h>

#define DOG_DOOR_OTA_VERSION_MAX 25

struct ota_snapshot {
	bool image_confirmed;
	bool upload_in_progress;
	bool reboot_pending;
	size_t bytes_received;
	char running_version[DOG_DOOR_OTA_VERSION_MAX];
	char update_version[DOG_DOOR_OTA_VERSION_MAX];
};

int ota_manager_init(void);
void ota_manager_mark_healthy(void);
int ota_manager_begin(void);
int ota_manager_write(const uint8_t *data, size_t length, bool final);
void ota_manager_abort(void);
void ota_manager_response_sent(void);
void ota_manager_get(struct ota_snapshot *snapshot);

#endif /* DOG_DOOR_OTA_MANAGER_H_ */
```
